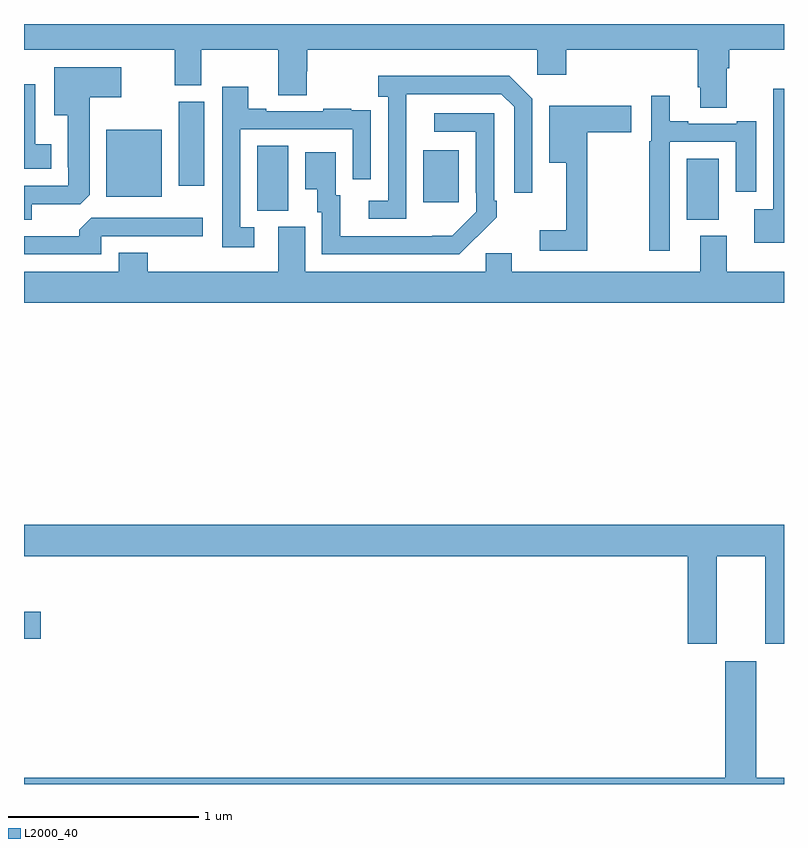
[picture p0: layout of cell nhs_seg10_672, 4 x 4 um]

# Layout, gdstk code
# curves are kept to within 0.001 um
import gdstk
lib = gdstk.Library(unit=1e-6, precision=1e-09)
def R(c, l, rs):  # rectangles x0, y0, x1, y1
    for r in rs: c.add(gdstk.rectangle(r[:2], r[2:], *l))
def P(c, l, *ps):  # polygons
    for p in ps: c.add(gdstk.Polygon(p, *l))
L2000_40 = (2000, 40)

nhs_seg10_672 = lib.new_cell('nhs_seg10_672')
R(nhs_seg10_672, L2000_40, [(145,1249.265,145.087,1249.407), (148.487,1251.47,148.657,1251.79), (146.228,1251.517,146.392,1251.86), (147.101,1251.561,147.289,1251.835), (145.433,1251.59,145.726,1251.943), (145.814,1251.648,145.948,1252.092)])
P(nhs_seg10_672, L2000_40, [(148.699,1252.268),(148.712,1252.268),(148.712,1252.364),(149,1252.364),(149,1252.5),(145,1252.5),(145,1252.364),(145.793,1252.364),(145.793,1252.177),(145.933,1252.177),(145.933,1252.364),(146.339,1252.364),(146.339,1252.126),(146.487,1252.126),(146.487,1252.251),(146.492,1252.251),(146.492,1252.364),(147.702,1252.364),(147.702,1252.233),(147.854,1252.233),(147.854,1252.364),(148.547,1252.364),(148.547,1252.168),(148.559,1252.168),(148.559,1252.06),(148.699,1252.06)],
  [(145.042,1251.552),(145.296,1251.552),(145.345,1251.601),(145.345,1252.115),(145.513,1252.115),(145.513,1252.273),(145.16,1252.273),(145.16,1252.019),(145.229,1252.019),(145.229,1251.745),(145.233,1251.745),(145.233,1251.648),(145,1251.648),(145,1251.469),(145.042,1251.469)],
  [(147.012,1251.931),(147.013,1252.131),(147.513,1252.131),(147.579,1252.065),(147.579,1251.612),(147.675,1251.612),(147.675,1252.107),(147.554,1252.228),(146.865,1252.228),(146.865,1252.118),(146.916,1252.118),(146.916,1251.57),(146.814,1251.57),(146.814,1251.474),(147.012,1251.474)],
  [(145.144,1251.868),(145.06,1251.868),(145.06,1252.183),(145,1252.183),(145,1251.737),(145.144,1251.737)],
  [(146.212,1251.429),(146.139,1251.429),(146.139,1251.945),(146.73,1251.945),(146.73,1251.684),(146.826,1251.684),(146.826,1251.938),(146.825,1251.938),(146.825,1252.047),(146.723,1252.047),(146.723,1252.054),(146.575,1252.054),(146.575,1252.041),(146.275,1252.041),(146.275,1252.054),(146.179,1252.054),(146.179,1252.171),(146.043,1252.171),(146.043,1251.324),(146.212,1251.324)],
  [(149,1252.16),(148.944,1252.16),(148.944,1251.526),(148.844,1251.526),(148.844,1251.35),(149,1251.35)],
  [(148.398,1251.879),(148.745,1251.879),(148.745,1251.618),(148.855,1251.618),(148.855,1251.988),(148.751,1251.988),(148.751,1251.975),(148.495,1251.975),(148.495,1251.988),(148.399,1251.988),(148.399,1252.123),(148.302,1252.123),(148.302,1251.882),(148.29,1251.882),(148.29,1251.306),(148.398,1251.306)],
  [(147.964,1251.929),(148.195,1251.929),(148.195,1252.071),(147.764,1252.071),(147.764,1251.77),(147.854,1251.77),(147.854,1251.415),(147.714,1251.415),(147.714,1251.306),(147.964,1251.306)],
  [(147.383,1251.379),(147.384,1251.378),(147.489,1251.483),(147.489,1251.571),(147.474,1251.571),(147.474,1252.029),(147.159,1252.029),(147.159,1251.933),(147.378,1251.933),(147.378,1251.613),(147.381,1251.613),(147.381,1251.513),(147.253,1251.385),(146.665,1251.384),(146.665,1251.6),(146.641,1251.6),(146.641,1251.826),(146.48,1251.826),(146.48,1251.629),(146.543,1251.629),(146.543,1251.51),(146.568,1251.51),(146.568,1251.288),(147.292,1251.288)],
  [(145.407,1251.384),(145.942,1251.384),(145.942,1251.48),(145.353,1251.48),(145.292,1251.418),(145.292,1251.384),(145,1251.384),(145,1251.288),(145.407,1251.288)],
  [(149,1251.196),(148.699,1251.196),(148.699,1251.385),(148.559,1251.385),(148.559,1251.196),(147.568,1251.196),(147.568,1251.294),(147.429,1251.294),(147.429,1251.196),(146.479,1251.196),(146.479,1251.432),(146.339,1251.432),(146.339,1251.196),(145.652,1251.196),(145.652,1251.295),(145.499,1251.295),(145.499,1251.196),(145,1251.196),(145,1251.032),(149,1251.032)],
  [(148.645,1249.7),(148.901,1249.7),(148.901,1249.239),(149,1249.239),(149,1249.864),(145,1249.864),(145,1249.7),(148.493,1249.7),(148.493,1249.239),(148.645,1249.239)],
  [(149,1248.532),(148.855,1248.532),(148.855,1249.147),(148.691,1249.147),(148.691,1248.532),(145,1248.532),(145,1248.5),(149,1248.5)])

lib.write_gds('nhs_seg10_672.gds')
